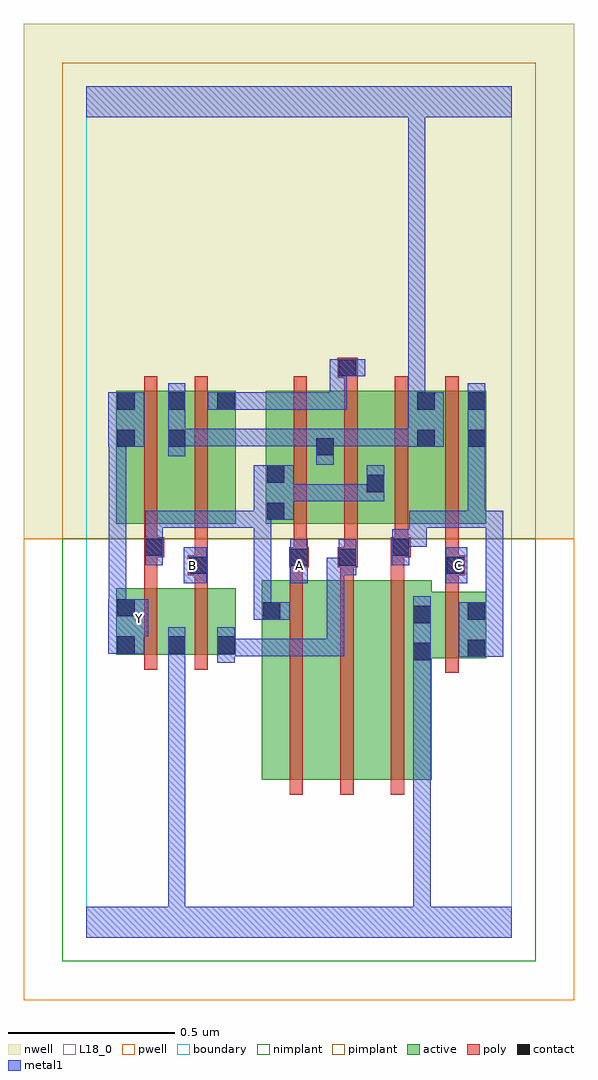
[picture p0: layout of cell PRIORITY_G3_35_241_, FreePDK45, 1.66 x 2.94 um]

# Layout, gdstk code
import gdstk
lib = gdstk.Library(unit=1e-6, precision=1e-09)
def R(c, l, rs):  # rectangles x0, y0, x1, y1
    for r in rs: c.add(gdstk.rectangle(r[:2], r[2:], *l))
def A(c, l, x, y, w, h, nx, ny, dx, dy):  # array of equal rectangles
    R(c, l, [(x+i*dx, y+j*dy, x+i*dx+w, y+j*dy+h) for i in range(nx) for j in range(ny)])
active = (1, 0)
pwell = (2, 0)
nwell = (3, 0)
nimplant = (4, 0)
pimplant = (5, 0)
poly = (9, 0)
contact = (10, 0)
metal1 = (11, 0)
L18_0 = (18, 0)
boundary = (235, 0)

priority_g3_35_241_ = lib.new_cell('PRIORITY_G3_35_241_')
A(priority_g3_35_241_, active, 0.688, 1.244, 0.06, 0.4, 4, 1, 0.152, 0)
A(priority_g3_35_241_, active, 0.688, 1.244, 0.212, 0.4, 3, 1, 0.152, 0)
R(priority_g3_35_241_, active, [(0.528,0.474,0.708,1.074), (0.708,0.474,0.86,1.074), (0.86,0.474,1.04,1.074), (0.528,0.556,0.588,1.074), (0.98,0.83,1.04,1.04), (0.98,0.84,1.204,1.04), (1.144,0.84,1.204,1.04), (0.09,0.85,0.15,1.05), (0.09,0.85,0.302,1.05), (0.242,0.85,0.45,1.05), (0.242,0.85,0.302,0.91), (0.39,0.85,0.45,1.05), (0.09,1.244,0.15,1.644), (0.09,1.244,0.302,1.644), (0.242,1.244,0.302,1.644), (0.242,1.244,0.45,1.644), (0.54,1.244,0.6,1.644), (0.54,1.244,0.748,1.644), (0.39,1.452,0.45,1.644)])
R(priority_g3_35_241_, pwell, [(-0.188,-0.188,1.468,1.2)])
R(priority_g3_35_241_, nwell, [(-0.188,1.2,1.468,2.748)])
R(priority_g3_35_241_, nimplant, [(-0.072,-0.072,1.352,1.2)])
R(priority_g3_35_241_, pimplant, [(-0.072,1.2,1.352,2.632)])
A(priority_g3_35_241_, poly, 0.612, 0.43, 0.04, 0.688, 3, 1, 0.152, 0)
A(priority_g3_35_241_, poly, 0.624, 1.2, 0.04, 0.488, 4, 1, 0.152, 0)
R(priority_g3_35_241_, poly, [(1.08,0.796,1.12,1.084), (0.174,0.806,0.214,1.094), (0.326,0.806,0.366,1.094), (1.08,1.044,1.12,1.13), (0.174,1.054,0.214,1.184), (0.326,1.054,0.366,1.13), (0.612,1.078,0.652,1.154), (0.764,1.078,0.804,1.154), (0.916,1.078,0.956,1.184), (0.306,1.09,0.366,1.15), (1.08,1.09,1.14,1.15), (0.326,1.11,0.366,1.24), (0.326,1.11,0.366,1.15), (0.326,1.11,0.366,1.15), (1.08,1.11,1.12,1.24), (1.08,1.11,1.12,1.15), (1.08,1.11,1.12,1.15), (0.61,1.114,0.67,1.174), (0.612,1.114,0.652,1.154), (0.612,1.114,0.652,1.154), (0.756,1.114,0.816,1.174), (0.624,1.134,0.664,1.24), (0.776,1.134,0.816,1.174), (0.776,1.134,0.816,1.174), (0.776,1.134,0.816,1.24), (0.174,1.144,0.214,1.184), (0.174,1.144,0.214,1.184), (0.174,1.144,0.234,1.204), (0.916,1.144,0.956,1.184), (0.916,1.144,0.956,1.184), (0.916,1.144,0.976,1.204), (0.174,1.164,0.214,1.24), (0.928,1.164,0.968,1.24), (0.174,1.2,0.214,1.688), (0.326,1.2,0.366,1.688), (0.776,1.648,0.816,1.724), (0.756,1.684,0.816,1.744)])
R(priority_g3_35_241_, contact, [(0.984,0.834,1.036,0.886), (1.148,0.844,1.2,0.896), (0.094,0.854,0.146,0.906), (0.246,0.854,0.298,0.906), (0.394,0.854,0.446,0.906), (0.984,0.946,1.036,0.998), (0.532,0.956,0.584,1.008), (1.148,0.956,1.2,1.008), (0.094,0.966,0.146,1.018), (0.31,1.094,0.362,1.146), (1.084,1.094,1.136,1.146), (0.614,1.118,0.666,1.17), (0.76,1.118,0.812,1.17), (0.178,1.148,0.23,1.2), (0.92,1.148,0.972,1.2), (0.544,1.256,0.596,1.308), (0.844,1.34,0.896,1.392), (0.544,1.368,0.596,1.42), (0.692,1.45,0.744,1.502), (0.094,1.476,0.146,1.528), (0.246,1.476,0.298,1.528), (0.996,1.476,1.048,1.528), (1.148,1.476,1.2,1.528), (0.094,1.588,0.146,1.64), (0.246,1.588,0.298,1.64), (0.394,1.588,0.446,1.64), (0.996,1.588,1.048,1.64), (1.148,1.588,1.2,1.64), (0.76,1.688,0.812,1.74)])
R(priority_g3_35_241_, metal1, [(0,0,1.28,0.092), (0.246,0.04,0.298,0.092), (0.246,0.04,0.298,0.092), (0.246,0.04,0.298,0.092), (0.246,0.04,0.298,0.092), (0.246,0.04,0.298,0.092), (0.246,0.04,0.298,0.092), (0.246,0.04,0.298,0.092), (0.246,0.04,0.298,0.092), (0.246,0.04,0.298,0.092), (0.246,0.04,0.298,0.092), (0.246,0.04,0.298,0.092), (0.246,0.04,0.298,0.092), (0.246,0.04,0.298,0.092), (0.246,0.04,0.298,0.092), (0.246,0.04,0.298,0.092), (0.246,0.04,0.298,0.092), (0.246,0.04,0.298,0.878), (0.984,0.04,1.036,0.092), (0.984,0.04,1.036,0.092), (0.984,0.04,1.036,0.092), (0.984,0.04,1.036,0.092), (0.984,0.04,1.036,0.858), (0.984,0.806,1.036,1.026), (0.984,0.806,1.036,0.858), (0.984,0.806,1.036,0.858), (0.984,0.806,1.036,0.858), (0.984,0.806,1.036,0.858), (0.246,0.826,0.298,0.934), (0.394,0.826,0.446,0.934), (1.12,0.844,1.254,1.008), (0.394,0.846,0.634,0.898), (0.582,0.846,0.634,0.898), (0.582,0.846,0.634,0.898), (0.582,0.846,0.634,0.898), (0.582,0.846,0.776,0.898), (0.724,0.846,0.776,0.898), (0.724,0.846,0.776,1.142), (0.066,0.854,0.174,1.018), (0.068,0.906,0.186,1.018), (0.504,0.956,0.556,1.284), (0.504,0.956,0.612,1.008), (1.202,0.956,1.254,1.284), (0.068,0.966,0.12,1.528), (0.122,0.966,0.174,1.018), (0.294,1.066,0.362,1.174), (0.614,1.066,0.666,1.198), (1.082,1.066,1.146,1.174), (0.724,1.09,0.776,1.142), (0.724,1.09,0.776,1.142), (0.724,1.09,0.776,1.142), (0.724,1.09,0.812,1.142), (0.76,1.09,0.812,1.198), (0.178,1.12,0.23,1.228), (0.92,1.12,0.972,1.228), (0.178,1.176,0.23,1.228), (0.178,1.176,0.23,1.284), (0.92,1.176,1.024,1.228), (0.972,1.176,1.024,1.284), (0.178,1.232,0.408,1.284), (0.356,1.232,0.408,1.284), (0.356,1.232,0.408,1.284), (0.356,1.232,0.408,1.284), (0.356,1.232,0.556,1.284), (0.504,1.232,0.556,1.284), (0.504,1.232,0.556,1.284), (0.504,1.232,0.556,1.284), (0.504,1.232,0.556,1.308), (0.972,1.232,1.2,1.284), (1.148,1.232,1.2,1.5), (1.148,1.232,1.2,1.284), (1.148,1.232,1.2,1.284), (1.148,1.232,1.254,1.284), (1.202,1.232,1.254,1.284), (1.202,1.232,1.254,1.284), (0.504,1.256,0.624,1.42), (0.572,1.312,0.624,1.364), (0.572,1.312,0.624,1.364), (0.572,1.312,0.744,1.364), (0.692,1.312,0.744,1.364), (0.692,1.312,0.744,1.364), (0.692,1.312,0.744,1.364), (0.692,1.312,0.896,1.364), (0.844,1.312,0.896,1.42), (0.692,1.422,0.744,1.53), (0.246,1.448,0.298,1.668), (1.148,1.448,1.2,1.668), (0.066,1.476,0.174,1.64), (0.068,1.476,0.12,1.528), (0.068,1.476,0.12,1.528), (0.968,1.476,1.076,1.64), (0.968,1.476,1.02,1.53), (0.246,1.478,0.408,1.53), (0.356,1.478,0.408,1.53), (0.356,1.478,0.408,1.53), (0.356,1.478,0.408,1.53), (0.356,1.478,0.634,1.53), (0.582,1.478,0.634,1.53), (0.582,1.478,0.634,1.53), (0.582,1.478,0.634,1.53), (0.582,1.478,0.744,1.53), (0.692,1.478,0.744,1.53), (0.692,1.478,0.744,1.53), (0.692,1.478,0.894,1.53), (0.842,1.478,0.894,1.53), (0.842,1.478,1.02,1.53), (0.968,1.478,1.02,1.53), (0.968,1.478,1.02,1.53), (0.968,1.478,1.02,1.53), (0.366,1.588,0.474,1.64), (0.422,1.588,0.584,1.64), (0.532,1.588,0.584,1.64), (0.532,1.588,0.584,1.64), (0.532,1.588,0.584,1.64), (0.532,1.588,0.784,1.64), (0.732,1.588,0.784,1.64), (0.732,1.588,0.784,1.74), (0.968,1.588,1.02,1.64), (0.968,1.588,1.02,1.64), (0.968,1.588,1.02,1.64), (0.968,1.588,1.02,1.64), (0.968,1.588,1.02,1.64), (0.968,1.588,1.02,1.64), (0.968,1.588,1.02,1.64), (0.968,1.588,1.02,1.64), (0.968,1.588,1.02,1.64), (0.968,1.588,1.02,1.64), (0.968,1.588,1.02,1.64), (0.968,1.588,1.02,1.64), (0.968,1.588,1.02,1.64), (0.968,1.588,1.02,1.64), (0.968,1.588,1.02,1.64), (0.968,1.588,1.02,1.64), (0.968,1.588,1.02,2.52), (0.732,1.688,0.784,1.74), (0.732,1.688,0.784,1.74), (0.732,1.688,0.84,1.74), (0,2.468,1.28,2.56)])
R(priority_g3_35_241_, L18_0, [(0,0,1.28,0.092), (0.246,0.04,0.298,0.092), (0.246,0.04,0.298,0.092), (0.246,0.04,0.298,0.092), (0.246,0.04,0.298,0.092), (0.246,0.04,0.298,0.092), (0.246,0.04,0.298,0.092), (0.246,0.04,0.298,0.092), (0.246,0.04,0.298,0.092), (0.246,0.04,0.298,0.092), (0.246,0.04,0.298,0.092), (0.246,0.04,0.298,0.092), (0.246,0.04,0.298,0.092), (0.246,0.04,0.298,0.092), (0.246,0.04,0.298,0.092), (0.246,0.04,0.298,0.092), (0.246,0.04,0.298,0.092), (0.246,0.04,0.298,0.878), (0.984,0.04,1.036,0.092), (0.984,0.04,1.036,0.092), (0.984,0.04,1.036,0.092), (0.984,0.04,1.036,0.092), (0.984,0.04,1.036,0.858), (0.984,0.806,1.036,0.858), (0.984,0.806,1.036,0.858), (0.984,0.806,1.036,0.858), (0.984,0.806,1.036,0.858), (0.984,0.806,1.036,1.026), (0.246,0.826,0.298,0.934), (0.066,0.854,0.174,1.018), (0.068,0.906,0.186,1.018), (0.134,0.934,0.186,0.986), (0.068,0.966,0.12,1.528), (0.122,0.966,0.174,1.018), (0.294,1.066,0.362,1.174), (0.614,1.066,0.666,1.198), (1.082,1.066,1.146,1.174), (0.294,1.094,0.346,1.146), (0.614,1.094,0.666,1.146), (1.094,1.094,1.146,1.146), (0.692,1.422,0.744,1.53), (0.246,1.448,0.298,1.668), (0.066,1.476,0.174,1.64), (0.068,1.476,0.12,1.528), (0.068,1.476,0.12,1.528), (0.968,1.476,1.076,1.64), (0.968,1.476,1.02,1.53), (0.246,1.478,0.408,1.53), (0.356,1.478,0.408,1.53), (0.356,1.478,0.408,1.53), (0.356,1.478,0.408,1.53), (0.356,1.478,0.634,1.53), (0.582,1.478,0.634,1.53), (0.582,1.478,0.634,1.53), (0.582,1.478,0.634,1.53), (0.582,1.478,0.744,1.53), (0.692,1.478,0.744,1.53), (0.692,1.478,0.744,1.53), (0.692,1.478,0.894,1.53), (0.842,1.478,0.894,1.53), (0.842,1.478,1.02,1.53), (0.968,1.478,1.02,1.53), (0.968,1.478,1.02,1.53), (0.968,1.478,1.02,1.53), (0.968,1.588,1.02,1.64), (0.968,1.588,1.02,1.64), (0.968,1.588,1.02,1.64), (0.968,1.588,1.02,1.64), (0.968,1.588,1.02,1.64), (0.968,1.588,1.02,1.64), (0.968,1.588,1.02,1.64), (0.968,1.588,1.02,1.64), (0.968,1.588,1.02,1.64), (0.968,1.588,1.02,1.64), (0.968,1.588,1.02,1.64), (0.968,1.588,1.02,1.64), (0.968,1.588,1.02,1.64), (0.968,1.588,1.02,1.64), (0.968,1.588,1.02,1.64), (0.968,1.588,1.02,1.64), (0.968,1.588,1.02,2.52), (0,2.468,1.28,2.56)])
R(priority_g3_35_241_, boundary, [(0,0,1.28,2.56)])
priority_g3_35_241_.add(gdstk.Label('A', (0.64,1.12), layer=11, texttype=0))
priority_g3_35_241_.add(gdstk.Label('B', (0.32,1.12), layer=11, texttype=0))
priority_g3_35_241_.add(gdstk.Label('C', (1.12,1.12), layer=11, texttype=0))
priority_g3_35_241_.add(gdstk.Label('Y', (0.16,0.96), layer=11, texttype=0))

lib.write_gds('PRIORITY_G3_35_241_.gds')
